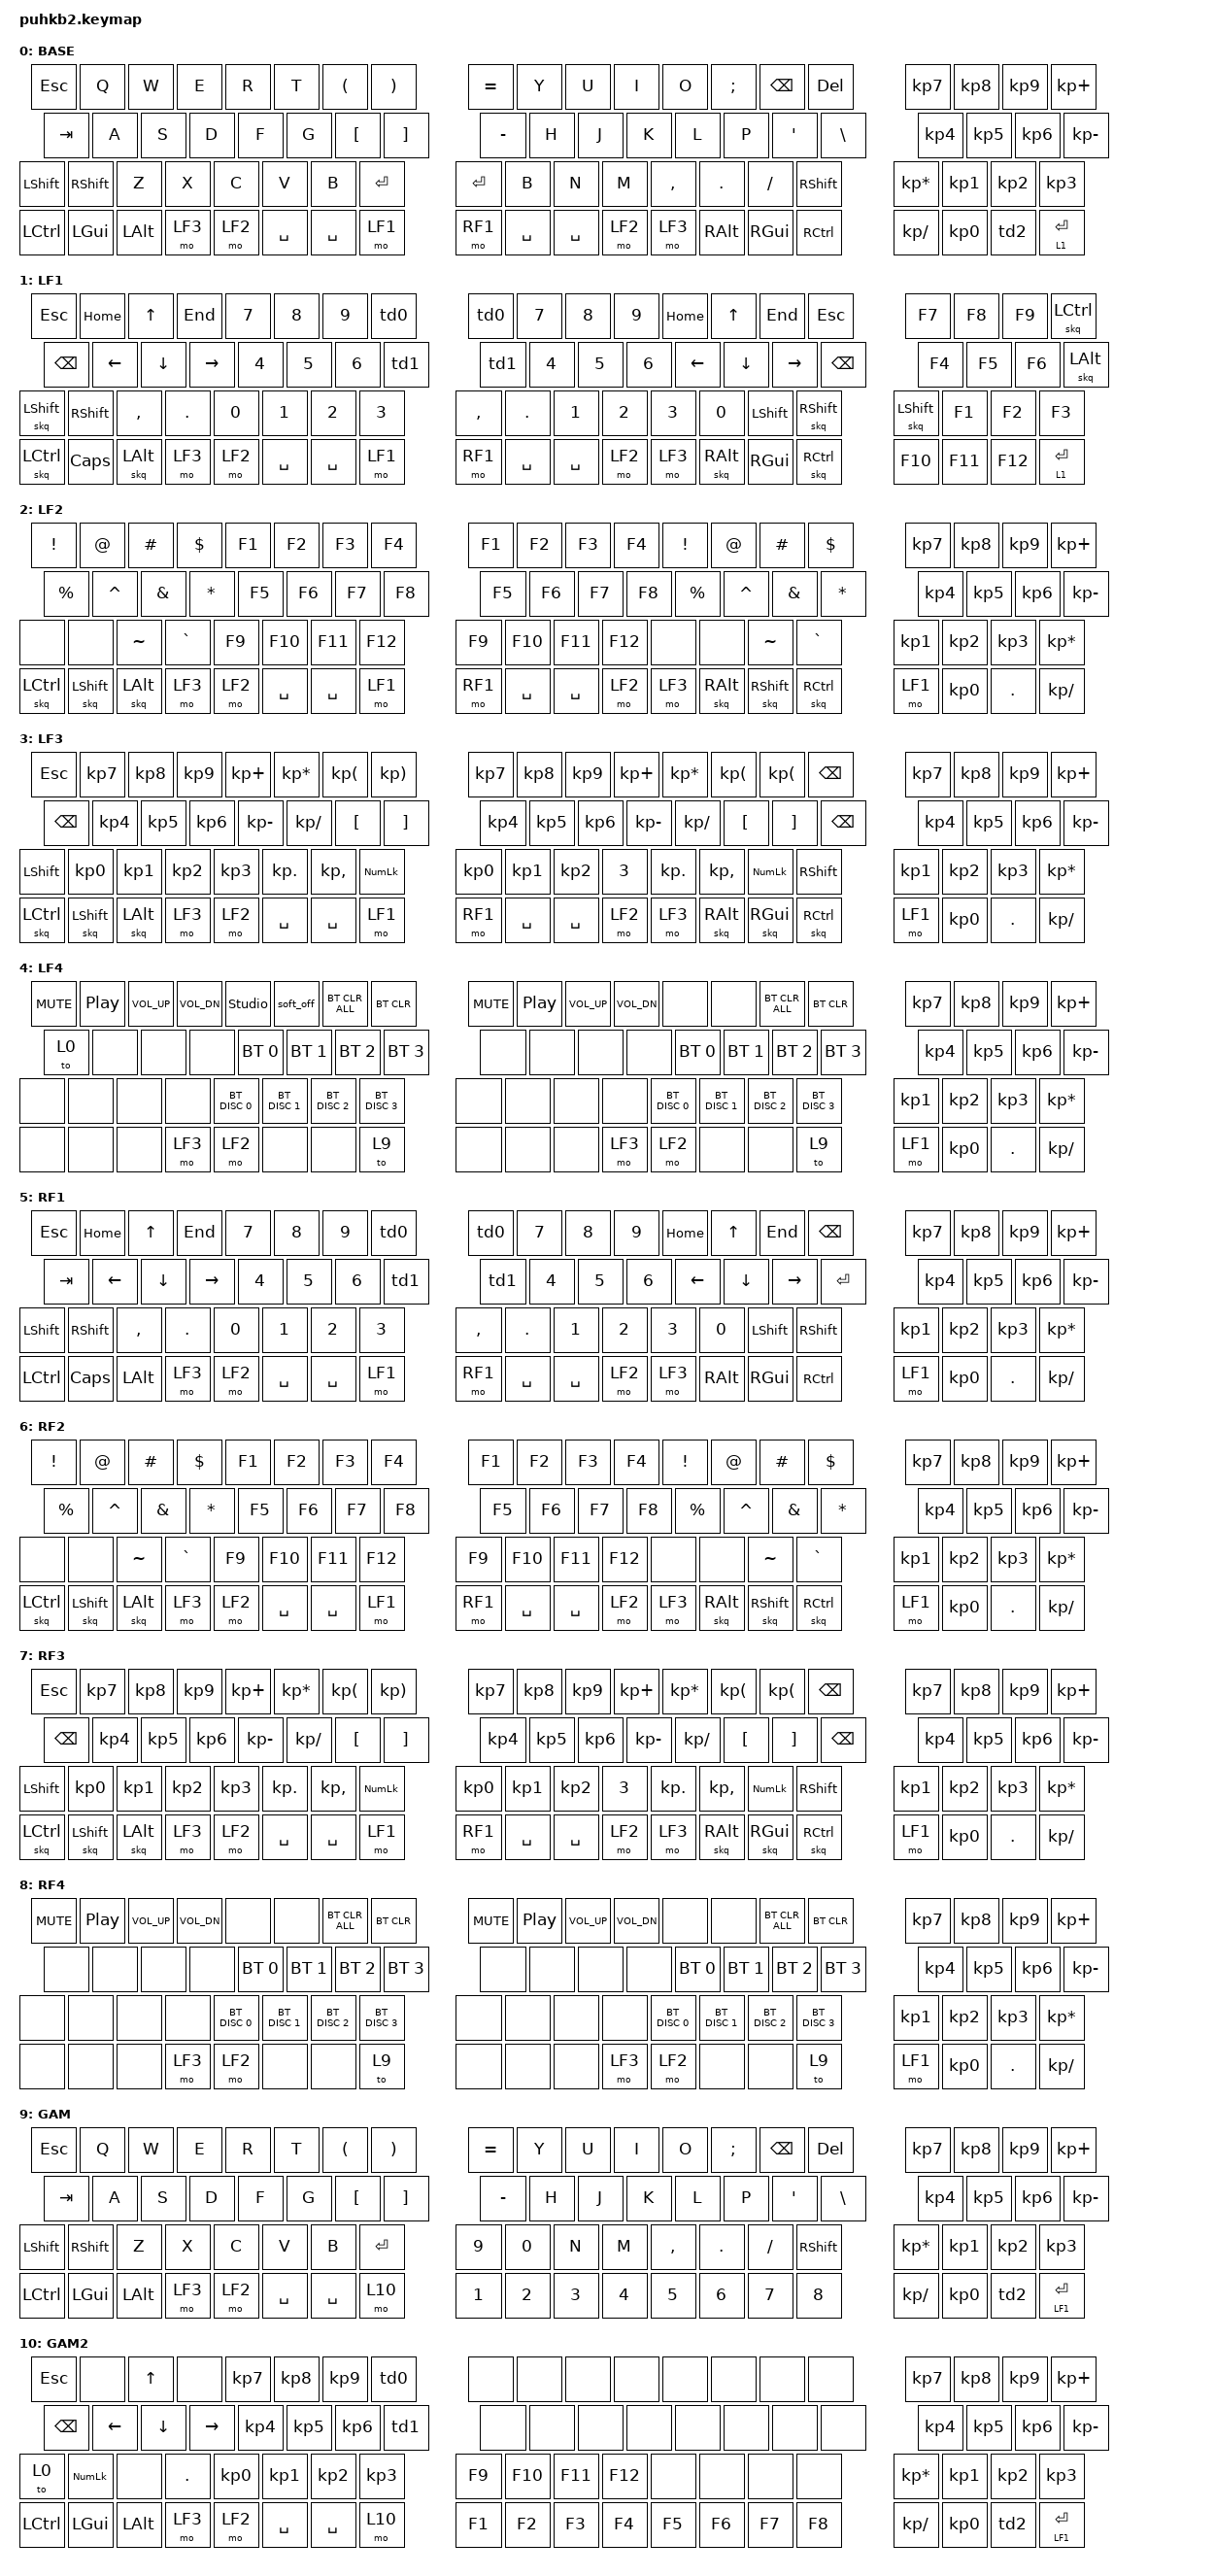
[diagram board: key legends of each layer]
/*
 * Copyright (c) 2020 The ZMK Contributors
 *
 * SPDX-License-Identifier: MIT
 */

#include <behaviors.dtsi>
#include <dt-bindings/zmk/keys.h>
#include <dt-bindings/zmk/bt.h>
#include <dt-bindings/zmk/outputs.h>

#define BASE 0
#define LF1 1
#define LF2 2
#define LF3 3
#define LF4 4
#define RF1 5
#define RF2 6
#define RF3 7
#define RF4 8
#define GAM 9
#define GAM2 10

/ {

	conditional_layers {
		compatible = "zmk,conditional-layers";
		lf4_layer {
			if-layers = <LF2 LF3>;
			then-layer = <LF4>;
		};
		rf4_layer {
			if-layers = <RF2 RF3>;
			then-layer = <RF4>;
        };
    };
    
	behaviors {
		td0: tap_dance_0 {
            		compatible = "zmk,behavior-tap-dance";
            		#binding-cells = <0>;
			tapping-term-ms = <500>;
            		bindings = <&kp KP_PLUS>, <&kp KP_MULTIPLY>;
        	};
        	td1: tap_dance_1 {
            		compatible = "zmk,behavior-tap-dance";
            		#binding-cells = <0>;
            		tapping-term-ms = <500>;
            		bindings = <&kp KP_MINUS>, <&kp KP_DIVIDE>;
        	};
		td2: tap_dance_2 {
            		compatible = "zmk,behavior-tap-dance";
            		#binding-cells = <0>;
            		tapping-term-ms = <500>;
            		bindings = <&kp KP_DOT>, <&kp COMMA>;
        	};
        	skq: sticky_key_quick_release {
        		compatible = "zmk,behavior-sticky-key";
        		#binding-cells = <1>;
        		bindings = <&kp>;
        		release-after-ms = <3000>;
        		quick-release;
        		ignore-modifiers;
      		};
    };
    
	keymap {
		compatible = "zmk,keymap";
        
		default_layer {
			display-name = "BASE";
// * BASE
// * |---------------------------------------------------------|       |---------------------------------------------------------|       |-----------------------------|
// *   | ESC  |   Q  |   W  |   E  |   R  |   T  |  (   |  )   |         |  =+  |   Y  |   U  |   I  |   O  |  ;:  | BSP  | DEL  |         |  N7  |  N8  |  N9  |  +   |
// * |-----------------------------------------------------------|     |-----------------------------------------------------------|     |-------------------------------|
// *     | TAB  |   A  |   S  |   D  |   F  |   G  |  [{  |  ]}  |         |  -_  |   H  |   J  |   K  |   L  |  P   |  '"  | \|   |         |  N4  |  N5  |  N6  |  -   |
// * |-----------------------------------------------------------|     |-----------------------------------------------------------|     |-------------------------------|
// * |LShift|RShift|   Z  |   X  |   C  |   V  |   B  | ENT  |         | ENT  |  B   |   N  |   M  |  ,<  |  .>  |  /?  |RShift|         |  *   |  N1  |  N2  |  N3  |
// * |-------------------------------------------------------|         |-------------------------------------------------------|         |---------------------------|
// * |LCTRL | LGUI | LAlt | LF3  | LF2  | SPC  | SPC  | LF1  |         | RF1  |Space |Space |  LF2 | LF3  | RAlt | RGUI |RCTRL |         |  /   |  N0  |  .,  | RET/1|
// * |-------------------------------------------------------|         |-------------------------------------------------------|         |---------------------------|
// */
            bindings = <
&kp ESC   &kp Q     &kp W    &kp E   &kp R   &kp T     &kp LPAR  &kp RPAR     &kp EQUAL &kp Y     &kp U     &kp I   &kp O     &kp SEMI &kp BSPC &kp DEL       &kp KP_N7       &kp KP_N8 &kp KP_N9 &kp KP_PLUS
&kp TAB   &kp A     &kp S    &kp D   &kp F   &kp G     &kp LBKT  &kp RBKT     &kp MINUS &kp H     &kp J     &kp K   &kp L     &kp P    &kp SQT  &kp BSLH      &kp KP_N4       &kp KP_N5 &kp KP_N6 &kp KP_MINUS
&kp LSHFT &kp RSHFT &kp Z    &kp X   &kp C   &kp V     &kp B     &kp RET      &kp RET   &kp B     &kp N     &kp M   &kp COMMA &kp DOT  &kp FSLH &kp RSHFT     &kp KP_MULTIPLY &kp KP_N1 &kp KP_N2 &kp KP_N3
&kp LCTRL &kp LGUI  &kp LALT &mo LF3 &mo LF2 &kp SPACE &kp SPACE &mo LF1      &mo RF1   &kp SPACE &kp SPACE &mo LF2 &mo LF3   &kp RALT &kp RGUI &kp RCTRL     &kp KP_DIVIDE   &kp KP_N0 &td2      &lt 1 RET
            >;
        };

		lf1_layer {
			display-name = "LF1";
// * LF1
// * |---------------------------------------------------------|       |---------------------------------------------------------|       |-----------------------------|
// *   | ESC  |  HO  |  UP  |  EN  |  7&  |  8*  |  9(  |  +*  |         |  +*  |  7&  |  8*  |  9(  |  HO  |  UP  | EN   | ESC  |         |  F7  |  F8  |  F9  |LCTRL |
// * |-----------------------------------------------------------|     |-----------------------------------------------------------|     |-------------------------------|
// *     | BSP  |  LE  |  DO  |  RI  |  4$  |  5%  |  6^  |  -/  |         |  -/  |  4$  |  5%  |  6^  |  LE  |  DO  |  RI  | BSP  |         |  F4  |  F5  |  F6  | LAlt |
// * |-----------------------------------------------------------|     |-----------------------------------------------------------|     |-------------------------------|
// * |LShift|RShift|  ,   |  .   |  0)  |  1!  |  2@  |  3#  |         |  ,   |  .   |  1!  |  2@  |  3#  |  0)  |LShift|RShift|         |LShift|  F1  |  F2  |  F3  |
// * |-------------------------------------------------------|         |-------------------------------------------------------|         |---------------------------|
// * |LCTRL | CAP  | LAlt | LF3  | LF2  | SPC  | SPC  | LF1  |         | RF1  | SPC  | SPC  |  LF2 | LF3  | RAlt | RGUI |RCTRL |         | F10  | F11  | F12  |      |
// * |-------------------------------------------------------|         |-------------------------------------------------------|         |---------------------------|
// */
            bindings = <
&kp ESC    &kp HOME  &kp UP    &kp END   &kp N7  &kp N8    &kp N9    &td0       &td0      &kp N7    &kp N8    &kp N9  &kp HOME &kp UP    &kp END   &kp ESC         &kp F7     &kp F8  &kp F9  &skq LCTRL
&kp BSPC   &kp LEFT  &kp DOWN  &kp RIGHT &kp N4  &kp N5    &kp N6    &td1       &td1      &kp N4    &kp N5    &kp N6  &kp LEFT &kp DOWN  &kp RIGHT &kp BSPC        &kp F4     &kp F5  &kp F6  &skq LALT
&skq LSHFT &kp RSHFT &kp COMMA &kp DOT   &kp N0  &kp N1    &kp N2    &kp N3     &kp COMMA &kp DOT   &kp N1    &kp N2  &kp N3   &kp N0    &kp LSHFT &skq RSHFT      &skq LSHFT &kp F1  &kp F2  &kp F3
&skq LCTRL &kp CAPS  &skq LALT &mo LF3   &mo LF2 &kp SPACE &kp SPACE &mo LF1    &mo RF1   &kp SPACE &kp SPACE &mo LF2 &mo LF3  &skq RALT &kp RGUI  &skq RCTRL      &kp F10    &kp F11 &kp F12 &lt 1 RET
            >;
        };
        
		lf2_layer {
			display-name = "LF2";
// * LF2
// * |---------------------------------------------------------|       |---------------------------------------------------------|       |-----------------------------|
// *   |  !   |  @   |  #   |  $   |  F1  |  F2  |  F3  |  F4  |         |  F1  |  F2  |  F3  |  F4  |  !   |  @   |  #   |  $   |         |  N7  |  N8  |  N9  |  +   |
// * |-----------------------------------------------------------|     |-----------------------------------------------------------|     |-------------------------------|
// *     |  %   |  ^   |  &   |  *   |  F5  |  F6  |  F7  |  F8  |         |  F5  |  F6  |  F7  |  F8  |  %   |  ^   |  &   |  *   |         |  N4  |  N5  |  N6  |  -   |
// * |-----------------------------------------------------------|     |-----------------------------------------------------------|     |-------------------------------|
// * |      |      |  ~   |  `   |  F9  |  F10 |  F11 |  F12 |         |  F9  |  F10 |  F11 |  F12 |      |      |  ~   |  `   |         |  N4  |  N5  |  N6  |  *   |
// * |-------------------------------------------------------|         |-------------------------------------------------------|         |---------------------------|
// * |LCTRL |LShift| LAlt | LF3  | LF2  | SPC  | SPC  | LF1  |         | RF1  | SPC  | SPC  |  LF2 | LF3  | RAlt |RShift|RCTRL |         | LF1  |  N0  |  N6  |  /   |
// * |-------------------------------------------------------|         |-------------------------------------------------------|         |---------------------------|
// */
            bindings = <
&kp EXCL   &kp AT     &kp HASH  &kp DLLR  &kp F1  &kp F2    &kp F3    &kp F4     &kp F1  &kp F2    &kp F3    &kp F4  &kp EXCL  &kp AT     &kp HASH   &kp DLLR       &kp KP_N7  &kp KP_N8 &kp KP_N9 &kp KP_PLUS
&kp PRCNT  &kp CARET  &kp AMPS  &kp STAR  &kp F5  &kp F6    &kp F7    &kp F8     &kp F5  &kp F6    &kp F7    &kp F8  &kp PRCNT &kp CARET  &kp AMPS   &kp STAR       &kp KP_N4  &kp KP_N5 &kp KP_N6 &kp KP_MINUS
&none      &none      &kp TILDE &kp GRAVE &kp F9  &kp F10   &kp F11   &kp F12    &kp F9  &kp F10   &kp F11   &kp F12 &none     &none      &kp TILDE  &kp GRAVE      &kp KP_N1  &kp KP_N2 &kp KP_N3 &kp KP_MULTIPLY
&skq LCTRL &skq LSHFT &skq LALT &mo LF3   &mo LF2 &kp SPACE &kp SPACE &mo LF1    &mo RF1 &kp SPACE &kp SPACE &mo LF2 &mo LF3   &skq RALT  &skq RSHFT &skq RCTRL     &mo LF1    &kp KP_N0 &kp DOT   &kp KP_DIVIDE
            >;
        };
        
		lf3_layer {
			display-name = "LF3";
// * LF3
// * |---------------------------------------------------------|       |---------------------------------------------------------|       |-----------------------------|
// *   | ESC  |  N7  |  N8  |  N9  |  +   |  *   |  (   |  )   |         |  N7  |  N8  |  N9  |  +   |  *   |  (   |  )   | ESC  |         |  N7  |  N8  |  N9  |  +   |
// * |-----------------------------------------------------------|     |-----------------------------------------------------------|     |-------------------------------|
// *     | BSP  |  N4  |  N5  |  N6  |  -   |  /   |  [{  |  ]}  |         |  N4  |  N5  |  N6  |  -   |  /   |  [{  |  ]}  | BSP  |         |  N4  |  N5  |  N6  |  -   |
// * |-----------------------------------------------------------|     |-----------------------------------------------------------|     |-------------------------------|
// * |LShift|  N0  |  N1  |  N2  |  N3  | .DEL |  ,   |NUMLOC|         |  N0  |  N1  |  N2  |  N3  | .DEL |  ,   |NUMLOC|RShift|         |  N4  |  N5  |  N6  |  *   |
// * |-------------------------------------------------------|         |-------------------------------------------------------|         |---------------------------|
// * |LCTRL |LShift| LAlt | LF3  | LF2  | SPC  | SPC  | LOW  |         | RAI  | SPC  | SPC  |  LF2 | LF3  | RAlt |RShift|RCTRL |         | LF1  |  N0  |  N6  |  /   |
// * |-------------------------------------------------------|         |-------------------------------------------------------|         |---------------------------|
// */
            bindings = <
&kp ESC    &kp KP_N7  &kp KP_N8 &kp KP_N9 &kp KP_PLUS  &kp KP_MULTIPLY &kp KP_LPAR  &kp KP_RPAR    &kp KP_N7 &kp KP_N8 &kp KP_N9 &kp KP_PLUS  &kp KP_MULTIPLY &kp KP_LPAR  &kp KP_LPAR &kp BSPC       &kp KP_N7  &kp KP_N8 &kp KP_N9 &kp KP_PLUS
&kp BSPC   &kp KP_N4  &kp KP_N5 &kp KP_N6 &kp KP_MINUS &kp KP_DIVIDE   &kp LBKT     &kp RBKT       &kp KP_N4 &kp KP_N5 &kp KP_N6 &kp KP_MINUS &kp KP_DIVIDE   &kp LBKT     &kp RBKT    &kp BSPC       &kp KP_N4  &kp KP_N5 &kp KP_N6 &kp KP_MINUS
&kp LSHFT  &kp KP_N0  &kp KP_N1 &kp KP_N2 &kp KP_N3    &kp KP_DOT      &kp KP_COMMA &kp KP_NUM     &kp KP_N0 &kp KP_N1 &kp KP_N2 &kp N3       &kp KP_DOT      &kp KP_COMMA &kp KP_NUM  &kp RSHFT      &kp KP_N1  &kp KP_N2 &kp KP_N3 &kp KP_MULTIPLY
&skq LCTRL &skq LSHFT &skq LALT &mo LF3   &mo LF2      &kp SPACE       &kp SPACE    &mo LF1        &mo RF1   &kp SPACE &kp SPACE &mo LF2      &mo LF3         &skq RALT    &skq RGUI   &skq RCTRL     &mo LF1    &kp KP_N0 &kp DOT   &kp KP_DIVIDE
            >;
        };
        
        lf4_layer {
			display-name = "LF4";
// * LF4
// * |---------------------------------------------------------|       |---------------------------------------------------------|       |-----------------------------|
// *   | MUTE | PLAY | VUP  | VDO  |SUNLO|SOFTOF| BTCLA| BTCL  |        | MUTE | PLAY | VUP  | VDO  |      |      | BTCLA| BTCL  |         |  N7  |  N8  |  N9  |  +   |
// * |-----------------------------------------------------------|     |-----------------------------------------------------------|     |-------------------------------|
// *     | BASE |      |      |      | BTS0 | BTS1 | BTS2 | BTS3 |         |      |      |      |      | BTS0 | BTS1 | BTS2 | BTS3 |         |  N4  |  N5  |  N6  |  -   |
// * |-----------------------------------------------------------|     |-----------------------------------------------------------|     |-------------------------------|
// * |      |      |      |      | BTD0 | BTD1 | BTD2 | BTD3 |         |      |      |      |      | BTS0 | BTS1 | BTS2 | BTS3 |         |  N4  |  N5  |  N6  |  *   |
// * |-------------------------------------------------------|         |-------------------------------------------------------|         |---------------------------|
// * |      |      |      | LF3  | LF2  |      |      | GAME |         |      |      |      |  LF2 | LF3  |      |      | GAME |         | LF1  |  N0  |  N6  |  /   |
// * |-------------------------------------------------------|         |-------------------------------------------------------|         |---------------------------|
// */
            bindings = <
&kp C_MUTE &kp C_PP &kp C_VOL_UP &kp C_VOL_DN &studio_unlock &soft_off     &bt BT_CLR_ALL &bt BT_CLR       &kp C_MUTE &kp C_PP &kp C_VOL_UP &kp C_VOL_DN &none         &none         &bt BT_CLR_ALL &bt BT_CLR        &kp KP_N7  &kp KP_N8 &kp KP_N9 &kp KP_PLUS
&to 0      &none    &none        &none        &bt BT_SEL 0   &bt BT_SEL 1  &bt BT_SEL 2   &bt BT_SEL 3     &none      &none    &none        &none        &bt BT_SEL 0  &bt BT_SEL 1  &bt BT_SEL 2   &bt BT_SEL 3      &kp KP_N4  &kp KP_N5 &kp KP_N6 &kp KP_MINUS
&none      &none    &none        &none        &bt BT_DISC 0  &bt BT_DISC 1 &bt BT_DISC 2  &bt BT_DISC 3    &none      &none    &none        &none        &bt BT_DISC 0 &bt BT_DISC 1 &bt BT_DISC 2  &bt BT_DISC 3     &kp KP_N1  &kp KP_N2 &kp KP_N3 &kp KP_MULTIPLY
&none      &none    &none        &mo LF3      &mo LF2        &none         &none          &to 9            &none      &none    &none        &mo LF3      &mo LF2       &none         &none          &to 9             &mo LF1    &kp KP_N0 &kp DOT   &kp KP_DIVIDE
            >;
        };
        
		rf1_layer {
			display-name = "RF1";
// * RF1
// * |---------------------------------------------------------|       |---------------------------------------------------------|       |-----------------------------|
// *   | ESC  |  HO  |  UP  |  EN  |  7&  |  8*  |  9(  |  +*  |         |  +*  |  7&  |  8*  |  9(  |  HO  |  UP  | EN   | ESC  |         |  N7  |  N8  |  N9  |  +   |
// * |-----------------------------------------------------------|     |-----------------------------------------------------------|     |-------------------------------|
// *     | BSP  |  LE  |  DO  |  RI  |  4$  |  5%  |  6^  |  -/  |         |  -/  |  4$  |  5%  |  6^  |  LE  |  DO  | RI  | BSP  |         |  N4  |  N5  |  N6  |  -   |
// * |-----------------------------------------------------------|     |-----------------------------------------------------------|     |-------------------------------|
// * |LShift|RShift|  ,   |  .   |  0)  |  1!  |  2@  |  3#  |         |  ,   |  .   |  1!  |  2@  |  3#  |  0)  |LShift|RShift|         |  N4  |  N5  |  N6  |  *   |
// * |-------------------------------------------------------|         |-------------------------------------------------------|         |---------------------------|
// * |LCTRL | CAP  | LAlt | LF3  | LF2  | SPC  | SPC  | LF1  |         | RF1  | SPC  | SPC  |  LF2 | LF3  | RAlt | RGUI |RCTRL |         | LF1  |  N0  |  N6  |  /   |
// * |-------------------------------------------------------|         |-------------------------------------------------------|         |---------------------------|
// */
            bindings = <
&kp ESC   &kp HOME  &kp UP    &kp END   &kp N7  &kp N8    &kp N9    &td0       &td0      &kp N7    &kp N8    &kp N9  &kp HOME &kp UP   &kp END   &kp BSPC       &kp KP_N7  &kp KP_N8 &kp KP_N9 &kp KP_PLUS
&kp TAB   &kp LEFT  &kp DOWN  &kp RIGHT &kp N4  &kp N5    &kp N6    &td1       &td1      &kp N4    &kp N5    &kp N6  &kp LEFT &kp DOWN &kp RIGHT &kp RET        &kp KP_N4  &kp KP_N5 &kp KP_N6 &kp KP_MINUS
&kp LSHFT &kp RSHFT &kp COMMA &kp DOT   &kp N0  &kp N1    &kp N2    &kp N3     &kp COMMA &kp DOT   &kp N1    &kp N2  &kp N3   &kp N0   &kp LSHFT &kp RSHFT      &kp KP_N1  &kp KP_N2 &kp KP_N3 &kp KP_MULTIPLY
&kp LCTRL &kp CAPS  &kp LALT  &mo LF3   &mo LF2 &kp SPACE &kp SPACE &mo LF1    &mo RF1   &kp SPACE &kp SPACE &mo LF2 &mo LF3  &kp RALT &kp RGUI  &kp RCTRL      &mo LF1    &kp KP_N0 &kp DOT   &kp KP_DIVIDE
            >;
        };
        
		rf2_layer {
			display-name = "RF2";
// * RF2
// * |---------------------------------------------------------|       |---------------------------------------------------------|       |-----------------------------|
// *   |  !   |  @   |  #   |  $   |  F1  |  F2  |  F3  |  F4  |         |  F1  |  F2  |  F3  |  F4  |  !   |  @   |  #   |  $   |         |  N7  |  N8  |  N9  |  +   |
// * |-----------------------------------------------------------|     |-----------------------------------------------------------|     |-------------------------------|
// *     |  %   |  ^   |  &   |  *   |  F5  |  F6  |  F7  |  F8  |         |  F5  |  F6  |  F7  |  F8  |  %   |  ^   |  &   |  *   |         |  N4  |  N5  |  N6  |  -   |
// * |-----------------------------------------------------------|     |-----------------------------------------------------------|     |-------------------------------|
// * |      |      |  ~   |  `   |  F9  |  F10 |  F11 |  F12 |         |  F9  |  F10 |  F11 |  F12 |  !   |  !   |  ~   |  `   |         |  N4  |  N5  |  N6  |  *   |
// * |-------------------------------------------------------|         |-------------------------------------------------------|         |---------------------------|
// * |LCTRL |LShift| LAlt | LF3  | LF2  | SPC  | SPC  | LF1  |         | RF1  | SPC  | SPC  |  LF2 | LF3  | RAlt |RShift|RCTRL |         | LF1  |  N0  |  N6  |  /   |
// * |-------------------------------------------------------|         |-------------------------------------------------------|         |---------------------------|
// */
            bindings = <
&kp EXCL   &kp AT     &kp HASH  &kp DLLR  &kp F1  &kp F2    &kp F3    &kp F4     &kp F1  &kp F2    &kp F3    &kp F4  &kp EXCL  &kp AT     &kp HASH   &kp DLLR       &kp KP_N7  &kp KP_N8 &kp KP_N9 &kp KP_PLUS
&kp PRCNT  &kp CARET  &kp AMPS  &kp STAR  &kp F5  &kp F6    &kp F7    &kp F8     &kp F5  &kp F6    &kp F7    &kp F8  &kp PRCNT &kp CARET  &kp AMPS   &kp STAR       &kp KP_N4  &kp KP_N5 &kp KP_N6 &kp KP_MINUS
&none      &none      &kp TILDE &kp GRAVE &kp F9  &kp F10   &kp F11   &kp F12    &kp F9  &kp F10   &kp F11   &kp F12 &none     &none      &kp TILDE  &kp GRAVE      &kp KP_N1  &kp KP_N2 &kp KP_N3 &kp KP_MULTIPLY
&skq LCTRL &skq LSHFT &skq LALT &mo LF3   &mo LF2 &kp SPACE &kp SPACE &mo LF1    &mo RF1 &kp SPACE &kp SPACE &mo LF2 &mo LF3   &skq RALT  &skq RSHFT &skq RCTRL     &mo LF1    &kp KP_N0 &kp DOT   &kp KP_DIVIDE
            >;
        };
        
        rf3_layer {
			display-name = "RF3";
// * RF3
// * |---------------------------------------------------------|       |---------------------------------------------------------|       |-----------------------------|
// *   | ESC  |  N7  |  N8  |  N9  |  +   |  *   |  (   |  )   |         |  N7  |  N8  |  N9  |  +   |  *   |  (   |  )   | ESC  |         |  N7  |  N8  |  N9  |  +   |
// * |-----------------------------------------------------------|     |-----------------------------------------------------------|     |-------------------------------|
// *     | BSP  |  N4  |  N5  |  N6  |  -   |  /   |  [{  |  ]}  |         |  N4  |  N5  |  N6  |  -   |  /   |  [{  |  ]}  | BSP  |         |  N4  |  N5  |  N6  |  -   |
// * |-----------------------------------------------------------|     |-----------------------------------------------------------|     |-------------------------------|
// * |LShift|  N0  |  N1  |  N2  |  N3  | .DEL |  ,   |NUMLOC|         |  N0  |  N1  |  N2  |  N3  | .DEL |  ,   |NUMLOC|RShift|         |  N4  |  N5  |  N6  |  *   |
// * |-------------------------------------------------------|         |-------------------------------------------------------|         |---------------------------|
// * |LCTRL |LShift| LAlt | LF3  | LF2  | SPC  | SPC  | LOW  |         | RAI  | SPC  | SPC  |  LF2 | LF3  | RAlt |RShift|RCTRL |         | LF1  |  N0  |  N6  |  /   |
// * |-------------------------------------------------------|         |-------------------------------------------------------|         |---------------------------|
// */
            bindings = <
&kp ESC    &kp KP_N7  &kp KP_N8 &kp KP_N9 &kp KP_PLUS  &kp KP_MULTIPLY &kp KP_LPAR  &kp KP_RPAR    &kp KP_N7 &kp KP_N8 &kp KP_N9 &kp KP_PLUS  &kp KP_MULTIPLY &kp KP_LPAR  &kp KP_LPAR &kp BSPC       &kp KP_N7  &kp KP_N8 &kp KP_N9 &kp KP_PLUS
&kp BSPC   &kp KP_N4  &kp KP_N5 &kp KP_N6 &kp KP_MINUS &kp KP_DIVIDE   &kp LBKT     &kp RBKT       &kp KP_N4 &kp KP_N5 &kp KP_N6 &kp KP_MINUS &kp KP_DIVIDE   &kp LBKT     &kp RBKT    &kp BSPC       &kp KP_N4  &kp KP_N5 &kp KP_N6 &kp KP_MINUS
&kp LSHFT  &kp KP_N0  &kp KP_N1 &kp KP_N2 &kp KP_N3    &kp KP_DOT      &kp KP_COMMA &kp KP_NUM     &kp KP_N0 &kp KP_N1 &kp KP_N2 &kp N3       &kp KP_DOT      &kp KP_COMMA &kp KP_NUM  &kp RSHFT      &kp KP_N1  &kp KP_N2 &kp KP_N3 &kp KP_MULTIPLY
&skq LCTRL &skq LSHFT &skq LALT &mo LF3   &mo LF2      &kp SPACE       &kp SPACE    &mo LF1        &mo RF1   &kp SPACE &kp SPACE &mo LF2      &mo LF3         &skq RALT    &skq RGUI   &skq RCTRL     &mo LF1    &kp KP_N0 &kp DOT   &kp KP_DIVIDE
            >;
        };
		
		rf4_layer {
			display-name = "RF4";
// * RF4
// * |---------------------------------------------------------|       |---------------------------------------------------------|       |-----------------------------|
// *   | MUTE | PLAY | VUP  | VDO  |      |      | BTCLA| BTCL |        | MUTE | PLAY | VUP  | VDO  |      |      | BTCLA| BTCL |         |  N7  |  N8  |  N9  |  +   |
// * |-----------------------------------------------------------|     |-----------------------------------------------------------|     |-------------------------------|
// *     |      |      |      |      | BTS0 | BTS1 | BTS2 | BTS3 |         |      |      |      |      | BTS0 | BTS1 | BTS2 | BTS3 |         |  N4  |  N5  |  N6  |  -   |
// * |-----------------------------------------------------------|     |-----------------------------------------------------------|     |-------------------------------|
// * |      |      |      |      | BTD0 | BTD1 | BTD2 | BTD3 |         |      |      |      |      | BTS0 | BTS1 | BTS2 | BTS3 |         |  N4  |  N5  |  N6  |  *   |
// * |-------------------------------------------------------|         |-------------------------------------------------------|         |---------------------------|
// * |      |      |      | LF3  | LF2  |      |      | GAME |         | GAME1|      |      |  LF2 | LF3  |      |      | GAME |         | LF1  |  N0  |  N6  |  /   |
// * |-------------------------------------------------------|         |-------------------------------------------------------|         |---------------------------|
// */
            bindings = <
&kp C_MUTE &kp C_PP &kp C_VOL_UP &kp C_VOL_DN &none         &none         &bt BT_CLR_ALL &bt BT_CLR       &kp C_MUTE &kp C_PP &kp C_VOL_UP &kp C_VOL_DN &none         &none         &bt BT_CLR_ALL &bt BT_CLR        &kp KP_N7  &kp KP_N8 &kp KP_N9 &kp KP_PLUS
&none      &none    &none        &none        &bt BT_SEL 0  &bt BT_SEL 1  &bt BT_SEL 2   &bt BT_SEL 3     &none      &none    &none        &none        &bt BT_SEL 0  &bt BT_SEL 1  &bt BT_SEL 2   &bt BT_SEL 3      &kp KP_N4  &kp KP_N5 &kp KP_N6 &kp KP_MINUS
&none      &none    &none        &none        &bt BT_DISC 0 &bt BT_DISC 1 &bt BT_DISC 2  &bt BT_DISC 3    &none      &none    &none        &none        &bt BT_DISC 0 &bt BT_DISC 1 &bt BT_DISC 2  &bt BT_DISC 3     &kp KP_N1  &kp KP_N2 &kp KP_N3 &kp KP_MULTIPLY
&none      &none    &none        &mo LF3      &mo LF2       &none         &none          &to 9            &none      &none    &none        &mo LF3      &mo LF2       &none         &none          &to 9             &mo LF1    &kp KP_N0 &kp DOT   &kp KP_DIVIDE
            >;
        };

        gam_layer {
        	display-name = "GAM";
// * GAM
// * |---------------------------------------------------------|       |---------------------------------------------------------|       |-----------------------------|
// *   | ESC  |   Q  |   W  |   E  |   R  |   T  |  (   |  )   |         |  =+  |   Y  |   U  |   I  |   O  |  ;:  | BSP  | DEL  |         |  N7  |  N8  |  N9  |  +   |
// * |-----------------------------------------------------------|     |-----------------------------------------------------------|     |-------------------------------|
// *     | TAB  |   A  |   S  |   D  |   F  |   G  |  [{  |  ]}  |         |  -_  |   H  |   J  |   K  |   L  |  P   |  '"  | \|   |         |  N4  |  N5  |  N6  |  -   |
// * |-----------------------------------------------------------|     |-----------------------------------------------------------|     |-------------------------------|
// * |LShift|LCTRL |   Z  |   X  |   C  |   V  |   B  | ENT  |         |  9(  |  0)  |   N  |   M  |  ,<  |  .>  |  /?  |RShift|         |  *   |  N1  |  N2  |  N3  |
// * |-------------------------------------------------------|         |-------------------------------------------------------|         |---------------------------|
// * |LCTRL | LGUI | LAlt | LF3  | LF2  | SPC  | SPC  | GAM2 |         |  1!  |  2@  |  3#  |  4$  |  5%  |  6^  |  7&  |  8*  |         |  /   |  N0  |  .,  | RET/1|
// * |-------------------------------------------------------|         |-------------------------------------------------------|         |---------------------------|
// */
            bindings = <
&kp ESC   &kp Q     &kp W    &kp E   &kp R   &kp T     &kp LPAR  &kp RPAR     &kp EQUAL &kp Y     &kp U     &kp I   &kp O     &kp SEMI &kp BSPC &kp DEL        &kp KP_N7       &kp KP_N8 &kp KP_N9  &kp KP_PLUS
&kp TAB   &kp A     &kp S    &kp D   &kp F   &kp G     &kp LBKT  &kp RBKT     &kp MINUS &kp H     &kp J     &kp K   &kp L     &kp P    &kp SQT  &kp BSLH       &kp KP_N4       &kp KP_N5 &kp KP_N6  &kp KP_MINUS
&kp LSHFT &kp RSHFT &kp Z    &kp X   &kp C   &kp V     &kp B     &kp RET      &kp N9    &kp N0    &kp N     &kp M   &kp COMMA &kp DOT  &kp FSLH &kp RSHFT      &kp KP_MULTIPLY &kp KP_N1 &kp KP_N2  &kp KP_N3
&kp LCTRL &kp LGUI  &kp LALT &mo LF3 &mo LF2 &kp SPACE &kp SPACE &mo 10       &kp N1    &kp N2    &kp N3    &kp N4  &kp N5    &kp N6   &kp N7   &kp N8         &kp KP_DIVIDE   &kp KP_N0 &td2       &lt LF1 RET
            >;
        };

        gam2_layer {
        	display-name = "GAM2";
// * GAM2
// * |---------------------------------------------------------|       |---------------------------------------------------------|       |-----------------------------|
// *   | ESC  |      |  UP  |      |  N7  |  N8  |  N9  |  +-  |         |      |      |      |      |      |      |      |      |         |  N7  |  N8  |  N9  |  +   |
// * |-----------------------------------------------------------|     |-----------------------------------------------------------|     |-------------------------------|
// *     | BSP  |  LE  |  DO  |  RI  |  N4  |  N5  |  N6  |  */  |         |      |      |      |      |      |      |      |      |         |  N4  |  N5  |  N6  |  -   |
// * |-----------------------------------------------------------|     |-----------------------------------------------------------|     |-------------------------------|
// * | BASE | NUML |      |  .   |  N0  |  N1  |  N2  |  N3  |         |  F9  |  F10 |  F11 |  F12 |      |      |      |      |         |  *   |  N1  |  N2  |  N3  |
// * |-------------------------------------------------------|         |-------------------------------------------------------|         |---------------------------|
// * |LCTRL | LGUI | LAlt | LF3  | LF2  | SPC  | SPC  | GAM2 |         |  F1  |  F2  |  F3  |  F4  |  F5  |  F6  |  F7  |  F8  |         |  /   |  N0  |  .,  | RET/1|
// * |-------------------------------------------------------|         |-------------------------------------------------------|         |---------------------------|
// */
            bindings = <
&kp ESC   &none      &kp UP   &none     &kp KP_N7 &kp KP_N8 &kp KP_N9 &td0         &none     &none     &none     &none   &none     &none    &none    &none          &kp KP_N7       &kp KP_N8 &kp KP_N9  &kp KP_PLUS
&kp BSPC  &kp LEFT   &kp DOWN &kp RIGHT &kp KP_N4 &kp KP_N5 &kp KP_N6 &td1         &none     &none     &none     &none   &none     &none    &none    &none          &kp KP_N4       &kp KP_N5 &kp KP_N6  &kp KP_MINUS
&to 0     &kp KP_NUM &none    &kp DOT   &kp KP_N0 &kp KP_N1 &kp KP_N2 &kp KP_N3    &kp F9    &kp F10   &kp F11   &kp F12 &none     &none    &none    &none          &kp KP_MULTIPLY &kp KP_N1 &kp KP_N2  &kp KP_N3
&kp LCTRL &kp LGUI   &kp LALT &mo LF3   &mo LF2   &kp SPACE &kp SPACE &mo 10       &kp F1    &kp F2    &kp F3    &kp F4  &kp F5    &kp F6   &kp F7   &kp F8         &kp KP_DIVIDE   &kp KP_N0 &td2       &lt LF1 RET
            >;
        };
        
        extra1 {
            status = "reserved";
        };

        extra2 {
            status = "reserved";
        };
    };
};
